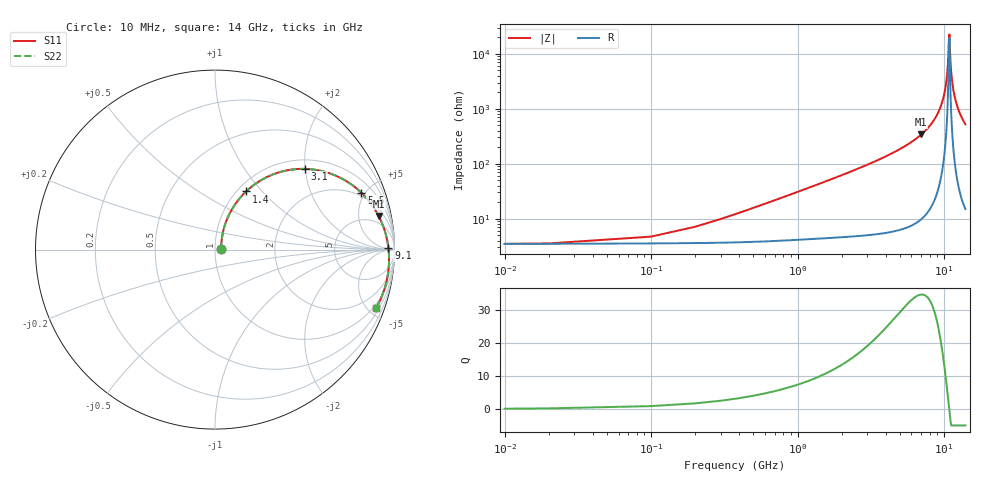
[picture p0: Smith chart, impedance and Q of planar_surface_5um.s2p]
! Created with skrf 1.12.0 (http://scikit-rf.org).
# GHz S DB R 50.0
!freq dBS11 angS11 dBS21 angS21 dBS12 angS12 dBS22 angS22
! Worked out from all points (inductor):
!   142 points, 10 MHz to 14 GHz, reference 50 ohm
!   read as one part in series: L = 4.85 nH near 400 MHz
!   highest Q = 34.8 at 7 GHz (marker M1), where L = 7.73 nH
!   self-resonance near 10.8 GHz
!   S11 on the Smith chart (normalised r, x): 10 MHz: 1.07, +0.01; 1.4 GHz: 1.10, +0.82; 3.1 GHz: 1.21, +1.98; 5.5 GHz: 1.74, +4.72; 9.1 GHz: 54, +16; 14 GHz: 0.75, -5.55
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0.01  -29.43 4.8  -0.30 -0.2  -0.30 -0.2  -29.43 4.8
0.5  -16.94 67.9  -0.44 -8.9  -0.44 -8.9  -16.95 67.9
0.9  -12.16 67.1  -0.68 -15.4  -0.68 -15.4  -12.16 67.1
1.4  -8.69 61.8  -1.09 -23.2  -1.09 -23.2  -8.69 61.8
2.4  -4.93 49.8  -2.24 -37.1  -2.24 -37.1  -4.93 49.8
3.1  -3.46 42.1  -3.26 -45.5  -3.26 -45.5  -3.46 42.1
4.7  -1.64 27.3  -6.03 -61.0  -6.03 -61.0  -1.64 27.3
5.5  -1.16 21.2  -7.64 -67.2  -7.64 -67.2  -1.16 21.2
7  -0.62 11.6  -11.16 -76.9  -11.16 -76.9  -0.62 11.6
7.1  -0.59 11.0  -11.43 -77.5  -11.43 -77.5  -0.60 11.0
9.1  -0.30 0.6  -18.75 -87.2  -18.75 -87.2  -0.30 0.6
9.4  -0.28 -0.8  -20.46 -88.2  -20.46 -88.2  -0.28 -0.9
10  -0.25 -3.6  -25.21 -89.4  -25.21 -89.4  -0.25 -3.6
10.4  -0.24 -5.4  -30.68 -87.8  -30.68 -87.8  -0.24 -5.4
10.6  -0.24 -6.2  -35.49 -83.3  -35.49 -83.3  -0.24 -6.3
10.8  -0.23 -7.1  -45.35 -53.7  -45.35 -53.7  -0.24 -7.1
10.9  -0.24 -7.5  -47.28 23.8  -47.28 23.8  -0.24 -7.5
11  -0.24 -8.0  -40.77 58.4  -40.77 58.4  -0.24 -8.0
11.2  -0.24 -8.8  -33.61 71.1  -33.61 71.1  -0.24 -8.8
11.7  -0.25 -10.9  -25.93 75.0  -25.93 75.0  -0.25 -10.9
12.6  -0.29 -14.6  -19.81 73.4  -19.81 73.4  -0.29 -14.6
14  -0.40 -20.1  -14.94 68.5  -14.94 68.5  -0.40 -20.1
